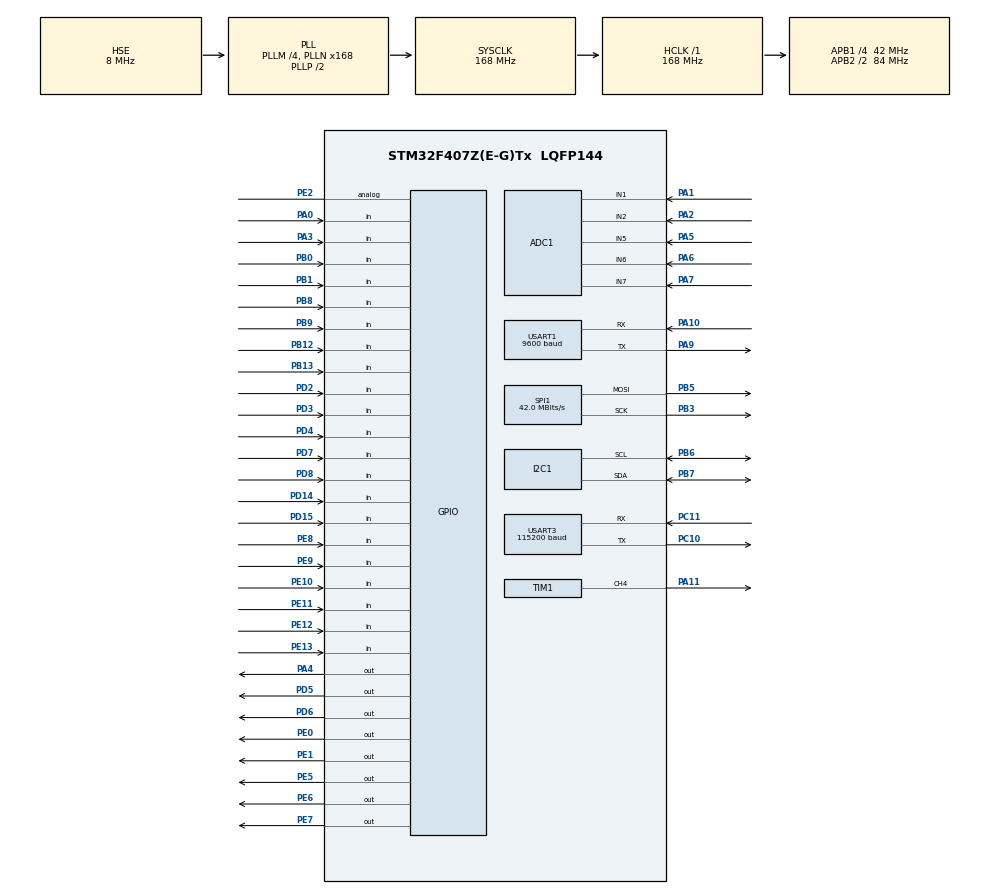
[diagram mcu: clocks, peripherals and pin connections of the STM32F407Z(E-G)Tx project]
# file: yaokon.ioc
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ADC1.Channel-0\#ChannelRegularConversion=ADC_CHANNEL_2
ADC1.Channel-1\#ChannelRegularConversion=ADC_CHANNEL_1
ADC1.Channel-2\#ChannelRegularConversion=ADC_CHANNEL_6
ADC1.Channel-3\#ChannelRegularConversion=ADC_CHANNEL_7
ADC1.Channel-4\#ChannelRegularConversion=ADC_CHANNEL_5
ADC1.ContinuousConvMode=ENABLE
ADC1.DMAContinuousRequests=ENABLE
ADC1.NbrOfConversion=5
ADC1.NbrOfConversionFlag=1
ADC1.Rank-0\#ChannelRegularConversion=1
ADC1.Rank-1\#ChannelRegularConversion=2
ADC1.Rank-2\#ChannelRegularConversion=3
ADC1.Rank-3\#ChannelRegularConversion=4
ADC1.Rank-4\#ChannelRegularConversion=5
ADC1.SamplingTime-0\#ChannelRegularConversion=ADC_SAMPLETIME_144CYCLES
ADC1.SamplingTime-1\#ChannelRegularConversion=ADC_SAMPLETIME_144CYCLES
ADC1.SamplingTime-2\#ChannelRegularConversion=ADC_SAMPLETIME_144CYCLES
ADC1.SamplingTime-3\#ChannelRegularConversion=ADC_SAMPLETIME_144CYCLES
ADC1.SamplingTime-4\#ChannelRegularConversion=ADC_SAMPLETIME_480CYCLES
ADC1.ScanConvMode=ENABLE
ADC1.master=1
Dma.ADC1.5.Direction=DMA_PERIPH_TO_MEMORY
Dma.ADC1.5.FIFOMode=DMA_FIFOMODE_DISABLE
Dma.ADC1.5.Instance=DMA2_Stream0
Dma.ADC1.5.MemDataAlignment=DMA_MDATAALIGN_HALFWORD
Dma.ADC1.5.MemInc=DMA_MINC_ENABLE
Dma.ADC1.5.Mode=DMA_CIRCULAR
Dma.ADC1.5.PeriphDataAlignment=DMA_PDATAALIGN_HALFWORD
Dma.ADC1.5.PeriphInc=DMA_PINC_DISABLE
Dma.ADC1.5.Priority=DMA_PRIORITY_LOW
Dma.Request0=USART1_TX
Dma.Request1=USART1_RX
Dma.Request2=USART3_RX
Dma.Request3=SPI1_TX
Dma.Request4=USART3_TX
Dma.Request5=ADC1
Dma.SPI1_TX.3.Direction=DMA_MEMORY_TO_PERIPH
Dma.SPI1_TX.3.FIFOMode=DMA_FIFOMODE_DISABLE
Dma.SPI1_TX.3.Instance=DMA2_Stream3
Dma.SPI1_TX.3.MemDataAlignment=DMA_MDATAALIGN_BYTE
Dma.SPI1_TX.3.MemInc=DMA_MINC_ENABLE
Dma.SPI1_TX.3.Mode=DMA_NORMAL
Dma.SPI1_TX.3.PeriphDataAlignment=DMA_PDATAALIGN_BYTE
Dma.SPI1_TX.3.PeriphInc=DMA_PINC_DISABLE
Dma.SPI1_TX.3.Priority=DMA_PRIORITY_LOW
Dma.USART1_RX.1.Direction=DMA_PERIPH_TO_MEMORY
Dma.USART1_RX.1.FIFOMode=DMA_FIFOMODE_DISABLE
Dma.USART1_RX.1.Instance=DMA2_Stream2
Dma.USART1_RX.1.MemDataAlignment=DMA_MDATAALIGN_BYTE
Dma.USART1_RX.1.MemInc=DMA_MINC_ENABLE
Dma.USART1_RX.1.Mode=DMA_NORMAL
Dma.USART1_RX.1.PeriphDataAlignment=DMA_PDATAALIGN_BYTE
Dma.USART1_RX.1.PeriphInc=DMA_PINC_DISABLE
Dma.USART1_RX.1.Priority=DMA_PRIORITY_LOW
Dma.USART1_TX.0.Direction=DMA_MEMORY_TO_PERIPH
Dma.USART1_TX.0.FIFOMode=DMA_FIFOMODE_DISABLE
Dma.USART1_TX.0.Instance=DMA2_Stream7
Dma.USART1_TX.0.MemDataAlignment=DMA_MDATAALIGN_BYTE
Dma.USART1_TX.0.MemInc=DMA_MINC_ENABLE
Dma.USART1_TX.0.Mode=DMA_NORMAL
Dma.USART1_TX.0.PeriphDataAlignment=DMA_PDATAALIGN_BYTE
Dma.USART1_TX.0.PeriphInc=DMA_PINC_DISABLE
Dma.USART1_TX.0.Priority=DMA_PRIORITY_LOW
Dma.USART3_RX.2.Direction=DMA_PERIPH_TO_MEMORY
Dma.USART3_RX.2.FIFOMode=DMA_FIFOMODE_DISABLE
Dma.USART3_RX.2.Instance=DMA1_Stream1
Dma.USART3_RX.2.MemDataAlignment=DMA_MDATAALIGN_BYTE
Dma.USART3_RX.2.MemInc=DMA_MINC_ENABLE
Dma.USART3_RX.2.Mode=DMA_CIRCULAR
Dma.USART3_RX.2.PeriphDataAlignment=DMA_PDATAALIGN_BYTE
Dma.USART3_RX.2.PeriphInc=DMA_PINC_DISABLE
Dma.USART3_RX.2.Priority=DMA_PRIORITY_LOW
Dma.USART3_TX.4.Direction=DMA_MEMORY_TO_PERIPH
Dma.USART3_TX.4.FIFOMode=DMA_FIFOMODE_DISABLE
Dma.USART3_TX.4.Instance=DMA1_Stream4
Dma.USART3_TX.4.MemDataAlignment=DMA_MDATAALIGN_BYTE
Dma.USART3_TX.4.MemInc=DMA_MINC_ENABLE
Dma.USART3_TX.4.Mode=DMA_NORMAL
Dma.USART3_TX.4.PeriphDataAlignment=DMA_PDATAALIGN_BYTE
Dma.USART3_TX.4.PeriphInc=DMA_PINC_DISABLE
Dma.USART3_TX.4.Priority=DMA_PRIORITY_LOW
FREERTOS.BinarySemaphores01=BinarySem_UartRx,Dynamic,NULL,Available;Sem_Uart3Tx,Dynamic,NULL,Available
FREERTOS.Events01=WdgEvent,Dynamic,NULL
FREERTOS.Mutexes01=UartTxMutex,Dynamic,NULL,Available
FREERTOS.Queues01=uartRxQueue,16,68,1,Dynamic,NULL,NULL;beepQueue,4,uint8_t,0,Dynamic,NULL,NULL
FREERTOS.Tasks01=defaultTask,24,256,StartDefaultTask,Default,NULL,Dynamic,NULL,NULL;GUITask,8,1024,StartGUITask,Default,NULL,Dynamic,NULL,NULL;ControlTask,24,256,StartControlTask,Default,NULL,Dynamic,NULL,NULL;RxTask,24,1048,StartRxTask,Default,NULL,Dynamic,NULL,NULL;BeeperTask,8,256,StartBeeperTask,Default,NULL,Dynamic,NULL,NULL
FREERTOS.configCHECK_FOR_STACK_OVERFLOW=2
FREERTOS.configMINIMAL_STACK_SIZE=256
FREERTOS.configTOTAL_HEAP_SIZE=23552
FREERTOS.configUSE_MALLOC_FAILED_HOOK=1
I2C1.I2C_Mode=I2C_Fast
Mcu.Family=STM32F4
Mcu.Name=STM32F407Z(E-G)Tx
Mcu.Package=LQFP144
NVIC.DMA1_Stream1_IRQn=true\:6\:0\:true\:false\:true\:true\:false\:true\:true
NVIC.DMA1_Stream4_IRQn=true\:5\:0\:false\:false\:true\:true\:false\:true\:true
NVIC.DMA2_Stream0_IRQn=true\:5\:0\:false\:false\:true\:true\:false\:true\:true
NVIC.DMA2_Stream2_IRQn=true\:5\:0\:false\:false\:true\:true\:false\:true\:true
NVIC.DMA2_Stream3_IRQn=true\:5\:0\:false\:false\:true\:true\:false\:true\:true
NVIC.DMA2_Stream7_IRQn=true\:5\:0\:false\:false\:true\:true\:false\:true\:true
NVIC.PriorityGroup=NVIC_PRIORITYGROUP_4
NVIC.SPI1_IRQn=true\:5\:0\:false\:false\:true\:true\:true\:true\:true
NVIC.TIM6_DAC_IRQn=true\:15\:0\:false\:false\:true\:false\:false\:true\:true
NVIC.TimeBase=TIM6_DAC_IRQn
NVIC.TimeBaseIP=TIM6
NVIC.USART1_IRQn=true\:5\:0\:false\:false\:true\:true\:true\:true\:true
NVIC.USART3_IRQn=true\:6\:0\:true\:false\:true\:true\:true\:true\:true
PA0-WKUP.GPIO_PuPd=GPIO_PULLUP
PA0-WKUP.Signal=GPIO_Input
PA1.Signal=ADCx_IN1
PA10.Mode=Asynchronous
PA10.Signal=USART1_RX
PA11.Signal=S_TIM1_CH4
PA13.Mode=Serial_Wire
PA13.Signal=SYS_JTMS-SWDIO
PA14.Mode=Serial_Wire
PA14.Signal=SYS_JTCK-SWCLK
PA2.Signal=ADCx_IN2
PA3.GPIO_PuPd=GPIO_PULLUP
PA3.Signal=GPIO_Input
PA4.Signal=GPIO_Output
PA5.Signal=ADCx_IN5
PA6.Signal=ADCx_IN6
PA7.Signal=ADCx_IN7
PA9.Mode=Asynchronous
PA9.Signal=USART1_TX
PB0.GPIO_PuPd=GPIO_PULLUP
PB0.Signal=GPIO_Input
PB1.GPIO_PuPd=GPIO_PULLUP
PB1.Signal=GPIO_Input
PB12.GPIO_PuPd=GPIO_PULLUP
PB12.Signal=GPIO_Input
PB13.GPIO_PuPd=GPIO_PULLUP
PB13.Signal=GPIO_Input
PB3.Mode=TX_Only_Simplex_Unidirect_Master
PB3.Signal=SPI1_SCK
PB4.Signal=SPI1_MISO
PB5.Mode=TX_Only_Simplex_Unidirect_Master
PB5.Signal=SPI1_MOSI
PB6.GPIO_Pu=GPIO_NOPULL
PB6.Mode=I2C
PB6.Signal=I2C1_SCL
PB7.GPIO_Pu=GPIO_NOPULL
PB7.Mode=I2C
PB7.Signal=I2C1_SDA
PB8.GPIO_PuPd=GPIO_PULLUP
PB8.Signal=GPIO_Input
PB9.GPIO_PuPd=GPIO_PULLUP
PB9.Signal=GPIO_Input
PC10.Mode=Asynchronous
PC10.Signal=USART3_TX
PC11.Mode=Asynchronous
PC11.Signal=USART3_RX
PC14-OSC32_IN.Mode=LSE-External-Oscillator
PC14-OSC32_IN.Signal=RCC_OSC32_IN
PC15-OSC32_OUT.Mode=LSE-External-Oscillator
PC15-OSC32_OUT.Signal=RCC_OSC32_OUT
PD14.GPIO_PuPd=GPIO_PULLUP
PD14.Signal=GPIO_Input
PD15.GPIO_PuPd=GPIO_PULLUP
PD15.Signal=GPIO_Input
PD2.GPIO_PuPd=GPIO_PULLUP
PD2.Signal=GPIO_Input
PD3.GPIO_PuPd=GPIO_PULLUP
PD3.Signal=GPIO_Input
PD4.GPIO_PuPd=GPIO_PULLUP
PD4.Signal=GPIO_Input
PD5.Signal=GPIO_Output
PD6.Signal=GPIO_Output
PD7.GPIO_PuPd=GPIO_PULLUP
PD7.Signal=GPIO_Input
PD8.GPIO_PuPd=GPIO_PULLUP
PD8.Signal=GPIO_Input
PE0.Signal=GPIO_Output
PE1.Signal=GPIO_Output
PE10.GPIO_PuPd=GPIO_PULLUP
PE10.Signal=GPIO_Input
PE11.GPIO_PuPd=GPIO_PULLUP
PE11.Signal=GPIO_Input
PE12.GPIO_PuPd=GPIO_PULLUP
PE12.Signal=GPIO_Input
PE13.GPIO_PuPd=GPIO_PULLUP
PE13.Signal=GPIO_Input
PE2.Signal=GPIO_Analog
PE5.Signal=GPIO_Output
PE6.GPIO_PuPd=GPIO_NOPULL
PE6.GPIO_Speed=GPIO_SPEED_FREQ_HIGH
PE6.PinState=GPIO_PIN_RESET
PE6.Signal=GPIO_Output
PE7.GPIO_Speed=GPIO_SPEED_FREQ_VERY_HIGH
PE7.Signal=GPIO_Output
PE8.GPIO_PuPd=GPIO_PULLUP
PE8.Signal=GPIO_Input
PE9.GPIO_PuPd=GPIO_PULLUP
PE9.Signal=GPIO_Input
PH0-OSC_IN.Mode=HSE-External-Oscillator
PH0-OSC_IN.Signal=RCC_OSC_IN
PH1-OSC_OUT.Mode=HSE-External-Oscillator
PH1-OSC_OUT.Signal=RCC_OSC_OUT
ProjectManager.HeapSize=0x200
ProjectManager.StackSize=0x400
ProjectManager.TargetToolchain=MDK-ARM V5.32
RCC.48MHZClocksFreq_Value=84000000
RCC.AHBFreq_Value=168000000
RCC.APB1CLKDivider=RCC_HCLK_DIV4
RCC.APB1Freq_Value=42000000
RCC.APB1TimFreq_Value=84000000
RCC.APB2CLKDivider=RCC_HCLK_DIV2
RCC.APB2Freq_Value=84000000
RCC.APB2TimFreq_Value=168000000
RCC.CortexFreq_Value=168000000
RCC.HCLKFreq_Value=168000000
RCC.HSE_VALUE=8000000
RCC.HSI_VALUE=16000000
RCC.PLLM=4
RCC.PLLN=168
RCC.PLLSourceVirtual=RCC_PLLSOURCE_HSE
RCC.SYSCLKFreq_VALUE=168000000
RCC.SYSCLKSource=RCC_SYSCLKSOURCE_PLLCLK
RCC.VCOOutputFreq_Value=336000000
SH.ADCx_IN1.0=ADC1_IN1,IN1
SH.ADCx_IN2.0=ADC1_IN2,IN2
SH.ADCx_IN5.0=ADC1_IN5,IN5
SH.ADCx_IN6.0=ADC1_IN6,IN6
SH.ADCx_IN7.0=ADC1_IN7,IN7
SH.S_TIM1_CH4.0=TIM1_CH4,PWM Generation4 CH4
SPI1.BaudRatePrescaler=SPI_BAUDRATEPRESCALER_2
SPI1.CLKPhase=SPI_PHASE_2EDGE
SPI1.CLKPolarity=SPI_POLARITY_HIGH
SPI1.CalculateBaudRate=42.0 MBits/s
SPI1.Direction=SPI_DIRECTION_2LINES
SPI1.Mode=SPI_MODE_MASTER
SPI1.VirtualType=VM_MASTER
TIM1.Channel-PWM\ Generation4\ CH4=TIM_CHANNEL_4
USART1.BaudRate=9600
USART1.VirtualMode=VM_ASYNC
USART3.BaudRate=115200
USART3.VirtualMode=VM_ASYNC
VP_FREERTOS_VS_CMSIS_V2.Mode=CMSIS_V2
VP_SYS_VS_tim6.Mode=TIM6
board=custom

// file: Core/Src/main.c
/* USER CODE BEGIN Header */
/**
 ******************************************************************************
 * @file           : main.c
 * @brief          : Main program body
 ******************************************************************************
 * @attention
 *
 * Copyright (c) 2025 STMicroelectronics.
 * All rights reserved.
 *
 * This software is licensed under terms that can be found in the LICENSE file
 * in the root directory of this software component.
 * If no LICENSE file comes with this software, it is provided AS-IS.
 *
 ******************************************************************************
 */
/* USER CODE END Header */
#include "main.h"
#include "cmsis_os.h"
#include "adc.h"
#include "dma.h"
#include "i2c.h"
#include "spi.h"
#include "tim.h"
#include "usart.h"
#include "gpio.h"

/* USER CODE BEGIN Includes */
#include "st7789.h"
#include <string.h> // 添加这一行，解决 memset 未声明问题
#include <stdio.h>
#include <key.h>
#include <read_adc.h>
#include <beep.h>
#include <stdlib.h>
#include "stm32f4xx_it.h"
#include "pairing_common.h"
#include "pairing_receiver.h"
#include "pairing_remote.h"
#include "E34.h"
#include "status.h"
#include "pairing_receiver.h"
#include <connet_check.h>
#include "heartbeat.h"
#include "A28.h"
/* USER CODE END Includes */

/* USER CODE BEGIN PTD */
// 重定向printf到串口（使用USART3，9600 baud）
int __io_putchar(int ch)
{
  HAL_UART_Transmit(&huart3, (uint8_t *)&ch, 1, HAL_MAX_DELAY);
  return ch;
}
/* USER CODE END PTD */

/* USER CODE BEGIN PD */

uint16_t Joystick[4] = {0}; // 定义摇杆数组
uint16_t key[8] = {0};      // 定义摇杆数组
uint8_t rx_buffer[UART_RX_BUF_SIZE] = {0};
uint8_t rx_buffer1[UART_RX_BUF_SIZE] = {0};
uint8_t status[24] = {0, 0, 0, 0, 0, 0, 0, 250, 250, 250, 250, 4, 0,0,0,0,0,0,0,0,0,0,0}; // 预设一个初始状态，电压250(25.0V)，电流250(25.0A)，高度4

uint8_t receiver_status[8];
// volatile uint16_t new_address = 0;
volatile uint16_t new_address1 = 0;
volatile uint8_t TESTok = 0;
volatile uint8_t TEST_OK = 0;
uint8_t lock = 1;
uint16_t voltage_int = 0;  // 36.5V -> 365
uint16_t currentA_int = 0; // 1.2A -> 12

// 回传状态
uint8_t Current_receiver_height = 20;
float Current_rpm = 0;
uint8_t Current_Bag = 0;
// 遥控状态
uint8_t grass_bag_status = 0; // 0=关闭, 1=打开
uint8_t target_height = 20;
uint8_t Target_height = 20;
uint8_t Current_height = 20;
uint8_t last_connected = 0;
uint8_t last_height = 20;

#define UART_RX_DMA_BUF_SIZE 64
uint8_t uart_rx_dma_buf[UART_RX_DMA_BUF_SIZE];

// 7. 用于按键频率控制的变量
static uint32_t last_height_adjust_time = 0;

static uint8_t last_collision_status = 255; // 初始化为一个不可能的值(或者1)，确保第一次同步
static uint8_t last_speed_status = 255;     // 初始化为一个不可能的值(或者1)，确保第一次同步
static uint8_t last_hight_status = 255;     // 初始化为一个不可能的值(或者1)，确保第一次同步
static uint8_t last_lock_status = 255;      // 初始化为一个不可能的值(或者1)，确保第一次同步

// [0]=LX, [1]=LY, [2]=RX, [3]=RY, [4]=Battery(Ch5)
uint16_t adc_dma_buffer[5];

Heartbeat_Handle_t g_hb_remote;

static uint32_t last_send_tick = 0;

static uint16_t last_lx = 0, last_ly = 0, last_rx = 0, last_ry = 0;

static uint32_t last_ui_update = 0;
/* USER CODE END PD */

void SystemClock_Config(void);
void MX_FREERTOS_Init(void);
/* USER CODE BEGIN PFP */
void SPI_LoopbackTest(void);
// 重定向printf到串口（使用USART3，9600 baud）
// int __io_putchar(int ch)
// {
//   HAL_UART_Transmit(&huart3, (uint8_t *)&ch, 1, HAL_MAX_DELAY);
//   return ch;
// }
/* USER CODE END PFP */

/* USER CODE BEGIN 0 */
void HAL_UART_ErrorCallback(UART_HandleTypeDef *huart)
{
  if (huart->Instance == USART3)
  {
    // 清除 ORE 错误
    if (__HAL_UART_GET_FLAG(huart, UART_FLAG_ORE) != RESET)
    {
      __HAL_UART_CLEAR_OREFLAG(huart);
      volatile uint32_t temp = huart->Instance->DR;
      (void)temp;
    }
    // 只要出错，马上重启 DMA！
    HAL_UART_Receive_DMA(huart, rx_buffer, 255);
  }
}
/* USER CODE END 0 */

int main(void)
{

  /* MCU Configuration--------------------------------------------------------*/

  /* Reset of all peripherals, Initializes the Flash interface and the Systick. */
  HAL_Init();

  /* Configure the system clock */
  SystemClock_Config();

  /* Initialize all configured peripherals */
  MX_GPIO_Init();
  MX_DMA_Init();
  MX_ADC1_Init();
  MX_USART1_UART_Init();
  MX_USART3_UART_Init();
  MX_SPI1_Init();
  MX_TIM1_Init();
  MX_I2C1_Init();
  /* USER CODE BEGIN 2 */
  // E34_Mode_GPIO_Init();
  //E34_Set_FullDuplex_Mode();
  A28_Set_FullDuplex_Mode();
  KEY_Init();

  HAL_ADC_Start_DMA(&hadc1, (uint32_t *)adc_dma_buffer, 5);
  // HAL_Delay(10);

  // // 初始化心跳
  // Heartbeat_Init(&g_hb_remote);
  /* USER CODE END 2 */

  /* Init scheduler */
  osKernelInitialize();  /* Call init function for freertos objects (in cmsis_os2.c) */
  MX_FREERTOS_Init();

  /* Start scheduler */
  osKernelStart();

  /* We should never get here as control is now taken by the scheduler */

  /* Infinite loop */
  while (1)
  {

  }
}

void SystemClock_Config(void)
{
  RCC_OscInitTypeDef RCC_OscInitStruct = {0};
  RCC_ClkInitTypeDef RCC_ClkInitStruct = {0};

  /** Configure the main internal regulator output voltage
  */
  __HAL_RCC_PWR_CLK_ENABLE();
  __HAL_PWR_VOLTAGESCALING_CONFIG(PWR_REGULATOR_VOLTAGE_SCALE1);

  /** Initializes the RCC Oscillators according to the specified parameters
  * in the RCC_OscInitTypeDef structure.
  */
  RCC_OscInitStruct.OscillatorType = RCC_OSCILLATORTYPE_HSE;
  RCC_OscInitStruct.HSEState = RCC_HSE_ON;
  RCC_OscInitStruct.PLL.PLLState = RCC_PLL_ON;
  RCC_OscInitStruct.PLL.PLLSource = RCC_PLLSOURCE_HSE;
  RCC_OscInitStruct.PLL.PLLM = 4;
  RCC_OscInitStruct.PLL.PLLN = 168;
  RCC_OscInitStruct.PLL.PLLP = RCC_PLLP_DIV2;
  RCC_OscInitStruct.PLL.PLLQ = 4;
  if (HAL_RCC_OscConfig(&RCC_OscInitStruct) != HAL_OK)
  {
    Error_Handler();
  }

  /** Initializes the CPU, AHB and APB buses clocks
  */
  RCC_ClkInitStruct.ClockType = RCC_CLOCKTYPE_HCLK|RCC_CLOCKTYPE_SYSCLK
                              |RCC_CLOCKTYPE_PCLK1|RCC_CLOCKTYPE_PCLK2;
  RCC_ClkInitStruct.SYSCLKSource = RCC_SYSCLKSOURCE_PLLCLK;
  RCC_ClkInitStruct.AHBCLKDivider = RCC_SYSCLK_DIV1;
  RCC_ClkInitStruct.APB1CLKDivider = RCC_HCLK_DIV4;
  RCC_ClkInitStruct.APB2CLKDivider = RCC_HCLK_DIV2;

  if (HAL_RCC_ClockConfig(&RCC_ClkInitStruct, FLASH_LATENCY_5) != HAL_OK)
  {
    Error_Handler();
  }
}

/* USER CODE BEGIN 4 */
// 串口发送完成中断回调
void HAL_UART_TxCpltCallback(UART_HandleTypeDef *huart)
{
    // 判断是不是我们要处理的串口3 (连接无线模块的串口)
    if (huart->Instance == USART3)
    {
        extern osSemaphoreId_t Sem_Uart3TxHandle;
        if (Sem_Uart3TxHandle != NULL)
        {
            // 在中断中释放信号量，唤醒 Safe_UART_DMA_Send 中等待的任务
            osSemaphoreRelease(Sem_Uart3TxHandle);
        }
    }
}
/* USER CODE END 4 */

void HAL_TIM_PeriodElapsedCallback(TIM_HandleTypeDef *htim)
{
  if (htim->Instance == TIM6)
  {
    HAL_IncTick();
  }
}

void Error_Handler(void)
{
  __disable_irq();
}

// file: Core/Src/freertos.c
/* USER CODE BEGIN Header */
/**
 ******************************************************************************
 * File Name          : freertos.c
 * Description        : Code for freertos applications
 ******************************************************************************
 * @attention
 *
 * Copyright (c) 2026 STMicroelectronics.
 * All rights reserved.
 *
 * This software is licensed under terms that can be found in the LICENSE file
 * in the root directory of this software component.
 * If no LICENSE file comes with this software, it is provided AS-IS.
 *
 ******************************************************************************
 */
//  ______   ___   _          _ __     ______ _
// |  _ \ \ / / | | |        | |\ \   / / ___| |
// | | | \ V /| |_| |        | | \ \ / / |  _| |
// | |_| || | |  _  |        | |__\ V /| |_| | |___
// |____/ |_| |_| |_|        |_____\_/  \____|_____|

/* USER CODE END Header */

#include "FreeRTOS.h"
#include "task.h"
#include "main.h"
#include "cmsis_os.h"

/* USER CODE BEGIN Includes */

#include "app_vars.h"
#include "app_gui.h"
#include "app_control.h"
#include "app_comm.h"
#include "app_beep.h"
/* USER CODE END Includes */

/* USER CODE BEGIN PD */
/* 全局实例，方便在 Watch 窗口查看 */

/* USER CODE END PD */

/* Definitions for defaultTask */
osThreadId_t defaultTaskHandle;
const osThreadAttr_t defaultTask_attributes = {
  .name = "defaultTask",
  .stack_size = 256 * 4,
  .priority = (osPriority_t) osPriorityNormal,
};
/* Definitions for GUITask */
osThreadId_t GUITaskHandle;
const osThreadAttr_t GUITask_attributes = {
  .name = "GUITask",
  .stack_size = 1024 * 4,
  .priority = (osPriority_t) osPriorityLow,
};
/* Definitions for ControlTask */
osThreadId_t ControlTaskHandle;
const osThreadAttr_t ControlTask_attributes = {
  .name = "ControlTask",
  .stack_size = 256 * 4,
  .priority = (osPriority_t) osPriorityNormal,
};
/* Definitions for RxTask */
osThreadId_t RxTaskHandle;
const osThreadAttr_t RxTask_attributes = {
  .name = "RxTask",
  .stack_size = 1048 * 4,
  .priority = (osPriority_t) osPriorityNormal,
};
/* Definitions for BeeperTask */
osThreadId_t BeeperTaskHandle;
const osThreadAttr_t BeeperTask_attributes = {
  .name = "BeeperTask",
  .stack_size = 256 * 4,
  .priority = (osPriority_t) osPriorityLow,
};
/* Definitions for uartRxQueue */
osMessageQueueId_t uartRxQueueHandle;
const osMessageQueueAttr_t uartRxQueue_attributes = {
  .name = "uartRxQueue"
};
/* Definitions for beepQueue */
osMessageQueueId_t beepQueueHandle;
const osMessageQueueAttr_t beepQueue_attributes = {
  .name = "beepQueue"
};
/* Definitions for UartTxMutex */
osMutexId_t UartTxMutexHandle;
const osMutexAttr_t UartTxMutex_attributes = {
  .name = "UartTxMutex"
};
/* Definitions for BinarySem_UartRx */
osSemaphoreId_t BinarySem_UartRxHandle;
const osSemaphoreAttr_t BinarySem_UartRx_attributes = {
  .name = "BinarySem_UartRx"
};
/* Definitions for Sem_Uart3Tx */
osSemaphoreId_t Sem_Uart3TxHandle;
const osSemaphoreAttr_t Sem_Uart3Tx_attributes = {
  .name = "Sem_Uart3Tx"
};
/* Definitions for WdgEvent */
osEventFlagsId_t WdgEventHandle;
const osEventFlagsAttr_t WdgEvent_attributes = {
  .name = "WdgEvent"
};

/* USER CODE BEGIN FunctionPrototypes */

void Update_Error_Popup(void);
void Update_System_Monitor(void);
/* USER CODE END FunctionPrototypes */

void StartDefaultTask(void *argument);
void StartGUITask(void *argument);
void StartControlTask(void *argument);
void StartRxTask(void *argument);
void StartBeeperTask(void *argument);

void MX_FREERTOS_Init(void); /* (MISRA C 2004 rule 8.1) */

/* Hook prototypes */
void vApplicationStackOverflowHook(xTaskHandle xTask, signed char *pcTaskName);
void vApplicationMallocFailedHook(void);

/* USER CODE BEGIN 4 */
void vApplicationStackOverflowHook(xTaskHandle xTask, signed char *pcTaskName)
{
  /* Run time stack overflow checking is performed if
  configCHECK_FOR_STACK_OVERFLOW is defined to 1 or 2. This hook function is
  called if a stack overflow is detected. */
  taskDISABLE_INTERRUPTS();
  for (;;)
    ;
}
/* USER CODE END 4 */

/* USER CODE BEGIN 5 */
void vApplicationMallocFailedHook(void)
{
  /* vApplicationMallocFailedHook() will only be called if
  configUSE_MALLOC_FAILED_HOOK is set to 1 in FreeRTOSConfig.h. It is a hook
  function that will get called if a call to pvPortMalloc() fails.
  pvPortMalloc() is called internally by the kernel whenever a task, queue,
  timer or semaphore is created. It is also called by various parts of the
  demo application. If heap_1.c or heap_2.c are used, then the size of the
  heap available to pvPortMalloc() is defined by configTOTAL_HEAP_SIZE in
  FreeRTOSConfig.h, and the xPortGetFreeHeapSize() API function can be used
  to query the size of free heap space that remains (although it does not
  provide information on how the remaining heap might be fragmented). */

  // 可以在这里打断点，或者翻转 LED 报警
  taskDISABLE_INTERRUPTS();
  for (;;)
    ;
}
/* USER CODE END 5 */

void MX_FREERTOS_Init(void) {
  /* Create the mutex(es) */
  /* creation of UartTxMutex */
  UartTxMutexHandle = osMutexNew(&UartTxMutex_attributes);

  /* Create the semaphores(s) */
  /* creation of BinarySem_UartRx */
  BinarySem_UartRxHandle = osSemaphoreNew(1, 1, &BinarySem_UartRx_attributes);

  /* creation of Sem_Uart3Tx */
  Sem_Uart3TxHandle = osSemaphoreNew(1, 0, &Sem_Uart3Tx_attributes);

  /* Create the queue(s) */
  /* creation of uartRxQueue */
  uartRxQueueHandle = osMessageQueueNew (16, 68, &uartRxQueue_attributes);

  /* creation of beepQueue */
  beepQueueHandle = osMessageQueueNew (4, sizeof(uint8_t), &beepQueue_attributes);

  /* Create the thread(s) */
  /* creation of defaultTask */
  defaultTaskHandle = osThreadNew(StartDefaultTask, NULL, &defaultTask_attributes);

  /* creation of GUITask */
  GUITaskHandle = osThreadNew(StartGUITask, NULL, &GUITask_attributes);

  /* creation of ControlTask */
  ControlTaskHandle = osThreadNew(StartControlTask, NULL, &ControlTask_attributes);

  /* creation of RxTask */
  RxTaskHandle = osThreadNew(StartRxTask, NULL, &RxTask_attributes);

  /* creation of BeeperTask */
  BeeperTaskHandle = osThreadNew(StartBeeperTask, NULL, &BeeperTask_attributes);

  /* creation of WdgEvent */
  WdgEventHandle = osEventFlagsNew(&WdgEvent_attributes);

}

void StartDefaultTask(void *argument)
{
  /* USER CODE BEGIN StartDefaultTask */

  /* Infinite loop */
  for (;;)
  {
    Update_System_Monitor();
    osDelay(500);
  }
  /* USER CODE END StartDefaultTask */
}

void StartGUITask(void *argument)
{
  /* USER CODE BEGIN StartGUITask */
  /* Infinite loop */
  // 调用应用层入口
  App_GUI_Main();
  /* USER CODE END StartGUITask */
}

void StartControlTask(void *argument)
{
  /* USER CODE BEGIN StartControlTask */

  /* Infinite loop */
  App_Control_Main();

  /* USER CODE END StartControlTask */
}

void StartRxTask(void *argument)
{
  /* USER CODE BEGIN StartRxTask */

  /* Infinite loop */
  App_Comm_Rx_Main();
  /* USER CODE END StartRxTask */
}

void StartBeeperTask(void *argument)
{
  /* USER CODE BEGIN StartBeeperTask */

  /* Infinite loop */
  App_Beep_Main();
  /* USER CODE END StartBeeperTask */
}

/* USER CODE BEGIN Application */

void Update_System_Monitor(void)
{
  // 1. 获取各个任务的历史最小剩余栈空间 (High Water Mark)
  // 注意：返回值单位是 Stack Type (在STM32上通常是 4字节/Word)
  // 如果返回 0，说明栈溢出了！

  if (ControlTaskHandle != NULL)
  {
    g_SysMonitor.Control_FreeStack = uxTaskGetStackHighWaterMark((TaskHandle_t)ControlTaskHandle);
  }

  if (GUITaskHandle != NULL)
  {
    g_SysMonitor.GUI_FreeStack = uxTaskGetStackHighWaterMark((TaskHandle_t)GUITaskHandle);
  }

  if (defaultTaskHandle != NULL)
  {
    g_SysMonitor.Default_FreeStack = uxTaskGetStackHighWaterMark((TaskHandle_t)defaultTaskHandle);
  }

  // 2. 获取 FreeRTOS 堆内存状态
  g_SysMonitor.FreeHeapSize = xPortGetFreeHeapSize();
  g_SysMonitor.MinEverFreeHeap = xPortGetMinimumEverFreeHeapSize();
}
/* USER CODE END Application */
